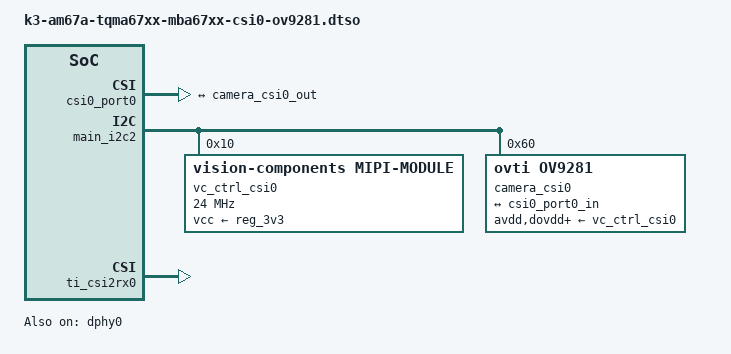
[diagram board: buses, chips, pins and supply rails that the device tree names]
// SPDX-License-Identifier: GPL-2.0-only OR MIT
/*
 * Copyright (c) 2025 TQ-Systems GmbH <linux@ew.tq-group.com>, D-82229 Seefeld, Germany.
 * Author: Matthias Schiffer
 */

#include <dt-bindings/media/video-interfaces.h>

/dts-v1/;
/plugin/;

&csi0_port0 {
	status = "okay";

	csi0_port0_in: endpoint {
		remote-endpoint = <&camera_csi0_out>;
		bus-type = <MEDIA_BUS_TYPE_CSI2_DPHY>;
		clock-lanes = <0>;
		data-lanes = <1 2>;
	};
};

&dphy0 {
	status = "okay";
};

&main_i2c2 {
	#address-cells = <1>;
	#size-cells = <0>;

	vc_ctrl_csi0: controller@10 {
		compatible = "vision-components,mipi-module";
		reg = <0x10>;
		#clock-cells = <0>;
		vcc-supply = <&reg_3v3>;
		clock-frequency = <24000000>;
	};

	camera_csi0: camera@60 {
		compatible = "ovti,ov9281";
		reg = <0x60>;
		avdd-supply = <&vc_ctrl_csi0>;
		clocks = <&vc_ctrl_csi0>;
		dovdd-supply = <&vc_ctrl_csi0>;
		dvdd-supply = <&vc_ctrl_csi0>;
		orientation = <2>;
		rotation = <0>;
		use-single-read;

		port {
			camera_csi0_out: endpoint {
				remote-endpoint = <&csi0_port0_in>;
				data-lanes = <1 2>;
				clock-lanes = <0>;
				clock-noncontinuous;
				link-frequencies = /bits/ 64 <400000000>;
			};
		};
	};
};

&ti_csi2rx0 {
	status = "okay";
};
